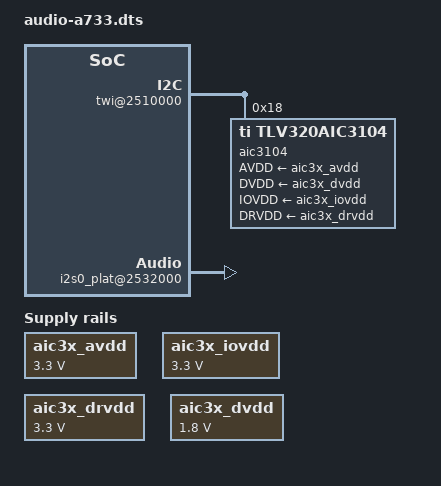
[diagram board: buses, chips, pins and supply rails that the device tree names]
// audio-a733.dts — A733 外挂 TLV320AIC3104 音频 overlay（HAT codec）
//
// 基础：Armbian trixie vendor 6.6.98（sun60i-a733-orangepi-zero3w.dtb），
// 源码 orangepi-xunlong/linux-orangepi 分支 orange-pi-6.6-sun60iw2。
//
// 驱动：TLV320AIC3104 属 TI AIC3x 家族，对应 snd-soc-tlv320aic3x。
// aic31xx 那支是 AIC3100/3110/3120 家族，两张寄存器表不同（Page0 Reg37 在
// AIC3x 里是 DAC 上电控制，在 aic31xx 里是只读上电标志），不能互换。
//
// 板级实测（2026-10-27）：
//   - &twi0（twi@2510000，PB2/PB3）status="disabled"
//   - &i2s0_plat（i2s0_plat@2532000，PB4-PB8）status="disabled"
//   - &i2s0_mach 挂在 /soc@3000000 下，其 codec 子节点 sound-dai 指向板载
//     &ac101；本板不用 AC101，overlay 改为指向新增的 aic3104 节点
//     （fdtoverlay 的 __local_fixups__ 会修正 overlay 内部 phandle 引用）。
//
// 不做的事（fdtoverlay 只能合并属性，不能删除，全用覆盖）：
//   - 不删 i2s0_mach 里 AC101 的 pin-switches / routing，只覆盖成本板真实的控件名。

/dts-v1/;
/plugin/;

&{/soc@3000000/twi@2510000} {
	// 与基础 dtb twi0 的 #address-cells/#size-cells（1/0）一致，仅消 dtc
	// 对 fragment 内 reg 的警告，应用后不改变父节点行为。
	#address-cells = <1>;
	#size-cells = <0>;
	status = "okay";

	aic3104: tlv320aic3104@18 {
		compatible = "ti,tlv320aic3104";
		reg = <0x18>;
		#sound-dai-cells = <0>;
		// aic3x 驱动要读四路供电电压，缺声明会报 Invalid supply voltage(s)
		// 并 probe 失败。HAT 实际供电：AVDD/IOVDD/DRVDD = 3V3 母线，
		// DVDD = 板上 XC6206P182 的 1.8V。
		AVDD-supply = <&aic3x_avdd>;
		DVDD-supply = <&aic3x_dvdd>;
		IOVDD-supply = <&aic3x_iovdd>;
		DRVDD-supply = <&aic3x_drvdd>;
		status = "okay";
	};
};

// 物理上是板载固定电源，声明成 regulator-fixed 只是给驱动一个电压值。
/ {
	fragment@100 {
		target-path = "/";
		__overlay__ {
			aic3x_avdd: regulator-aic3x-avdd {
				compatible = "regulator-fixed";
				regulator-name = "aic3x-avdd";
				regulator-min-microvolt = <3300000>;
				regulator-max-microvolt = <3300000>;
			};
			aic3x_iovdd: regulator-aic3x-iovdd {
				compatible = "regulator-fixed";
				regulator-name = "aic3x-iovdd";
				regulator-min-microvolt = <3300000>;
				regulator-max-microvolt = <3300000>;
			};
			aic3x_drvdd: regulator-aic3x-drvdd {
				compatible = "regulator-fixed";
				regulator-name = "aic3x-drvdd";
				regulator-min-microvolt = <3300000>;
				regulator-max-microvolt = <3300000>;
			};
			aic3x_dvdd: regulator-aic3x-dvdd {
				compatible = "regulator-fixed";
				regulator-name = "aic3x-dvdd";
				regulator-min-microvolt = <1800000>;
				regulator-max-microvolt = <1800000>;
			};
		};
	};
};

&{/soc@3000000/i2s0_plat@2532000} {
	status = "okay";
};

&{/soc@3000000/i2s0_mach} {
	soundcard-mach,name = "aic3104-hat";

	// 底图给 AC101 配的是 4 slot x 16 bit 的 TDM。机器驱动把 slot-num 传给
	// snd_soc_dai_set_tdm_slot() 时 mask 是 0，ASoC core 用
	// snd_soc_xlate_tdm_slot_mask() 补成 (1 << slots) - 1，于是 4 slot 得到
	// 0b1111；aic3x 的 set_tdm_slot 要求 mask 正好两个相邻 bit，直接 -EINVAL
	// （dmesg: Invalid mask, slots must be adjacent）。aic3104 只用双声道，
	// 这里改成 2 slot，mask = 0b11。slot-width 16 与 S16_LE 音源对应，
	// BCLK = 32fs。
	soundcard-mach,slot-num = <2>;
	soundcard-mach,slot-width = <16>;

	// soundcard-mach,cpu 不动：基础 dtb 里 sound-dai 已正确指向 i2s0_plat，
	// overlay 无法为基础 dtb 节点生成 phandle，不要在这里引用它。

	// 底图给的是 kissqy 板载 AC101 的路由表（MIC1P_PIN / LINEOUTLP_PIN / SPK），
	// 本板 codec 上没有这些 widget，注册路由失败会让机器驱动建 PCM 失败。
	// 这两条属性不能留空：空 routing 让 asoc_simple_parse_routing() 返回
	// -EINVAL（parse error -22），空 pin-switches 返回 -ENODATA（-61）。
	// 本板只用右声道线路输出：DAC -> Right Line Out -> RLOUT（= U2-29 RIGHT_LOP），
	// 左声道在 HAT 上已整条删除。
	soundcard-mach,routing = "RLOUT", "Right Line Out";

	// 输入脚开关，给两个麦克风输入脚，仅满足解析、不影响输出通路。
	soundcard-mach,pin-switches = "LINE1L", "LINE1R";

	soundcard-mach,codec {
		sound-dai = <&aic3104>;
	};
};

// MCLK 不是 SoC 给的，是 HAT 上 Y1 那颗 12 MHz 晶振直接送进 U2-1/AUDIO_MCLK。
// 机器驱动默认 mclk-fs=0，于是给 codec 设的 sysclk 是 0，aic3x_hw_params()
// 算不出分频。12 MHz / 256 = 46875，两个 fp 都给 46875，sysclk 恒为 12 MHz。
&{/soc@3000000/i2s0_mach/soundcard-mach,cpu} {
	soundcard-mach,mclk-fs = <256>;
	soundcard-mach,mclk-fp = <46875 46875>;
};
